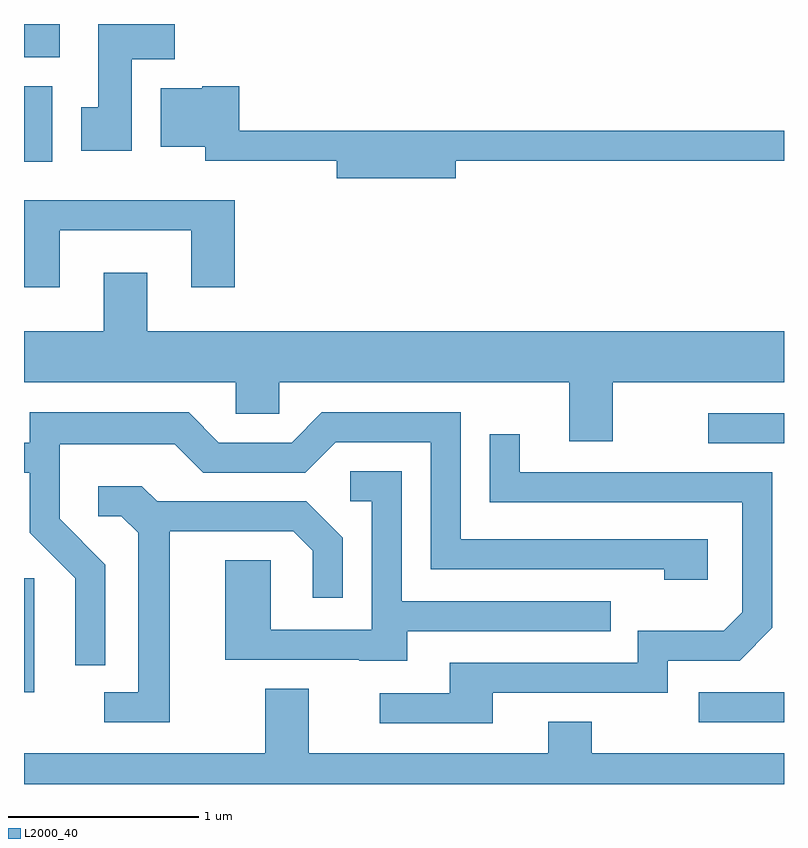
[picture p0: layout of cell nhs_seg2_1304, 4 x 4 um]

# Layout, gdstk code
import gdstk
lib = gdstk.Library(unit=1e-6, precision=1e-09)
def R(c, l, rs):  # rectangles x0, y0, x1, y1
    for r in rs: c.add(gdstk.rectangle(r[:2], r[2:], *l))
def P(c, l, *ps):  # polygons
    for p in ps: c.add(gdstk.Polygon(p, *l))
L2000_40 = (2000, 40)

nhs_seg2_1304 = lib.new_cell('nhs_seg2_1304')
R(nhs_seg2_1304, L2000_40, [(223.611,1002.286,223.664,1002.884), (227.213,1003.596,227.611,1003.754), (223.611,1005.076,223.759,1005.474), (223.611,1005.626,223.799,1005.802)])
P(nhs_seg2_1304, L2000_40, [(224.179,1005.616),(224.404,1005.616),(224.404,1005.802),(224.001,1005.802),(224.001,1005.364),(223.911,1005.364),(223.911,1005.136),(224.179,1005.136)],
  [(225.884,1005.081),(227.611,1005.081),(227.611,1005.239),(224.744,1005.239),(224.744,1005.474),(224.55,1005.474),(224.55,1005.464),(224.331,1005.464),(224.331,1005.156),(224.566,1005.156),(224.566,1005.081),(225.256,1005.081),(225.256,1004.991),(225.884,1004.991)],
  [(223.799,1004.716),(224.491,1004.716),(224.491,1004.416),(224.719,1004.416),(224.719,1004.874),(223.611,1004.874),(223.611,1004.416),(223.799,1004.416)],
  [(226.709,1003.916),(227.611,1003.916),(227.611,1004.184),(224.259,1004.184),(224.259,1004.494),(224.031,1004.494),(224.031,1004.184),(223.611,1004.184),(223.611,1003.916),(224.726,1003.916),(224.726,1003.751),(224.954,1003.751),(224.954,1003.916),(226.481,1003.916),(226.481,1003.606),(226.709,1003.606)],
  [(224.039,1002.957),(223.799,1003.197),(223.799,1003.591),(224.404,1003.591),(224.554,1003.441),(225.092,1003.441),(225.252,1003.601),(225.751,1003.601),(225.751,1002.931),(226.981,1002.931),(226.981,1002.876),(227.209,1002.876),(227.209,1003.089),(225.909,1003.089),(225.909,1003.759),(225.179,1003.759),(225.019,1003.599),(224.637,1003.599),(224.477,1003.759),(223.641,1003.759),(223.641,1003.599),(223.611,1003.599),(223.611,1003.441),(223.641,1003.441),(223.641,1003.124),(223.881,1002.884),(223.881,1002.428),(224.039,1002.428)],
  [(226.079,1002.281),(226.999,1002.281),(226.999,1002.451),(227.377,1002.451),(227.549,1002.624),(227.549,1003.444),(226.219,1003.444),(226.219,1003.643),(226.061,1003.643),(226.061,1003.286),(227.391,1003.286),(227.391,1002.707),(227.294,1002.609),(226.841,1002.609),(226.841,1002.439),(225.851,1002.439),(225.851,1002.279),(225.483,1002.279),(225.483,1002.121),(226.079,1002.121)],
  [(225.629,1002.606),(226.698,1002.606),(226.698,1002.764),(225.599,1002.764),(225.599,1003.449),(225.328,1003.449),(225.328,1003.291),(225.441,1003.291),(225.441,1002.614),(224.909,1002.614),(224.909,1002.979),(224.671,1002.979),(224.671,1002.456),(225.375,1002.456),(225.375,1002.451),(225.629,1002.451)],
  [(224.379,1003.131),(225.029,1003.131),(225.131,1003.029),(225.131,1002.783),(225.289,1002.783),(225.289,1003.097),(225.097,1003.289),(224.312,1003.289),(224.232,1003.369),(224.003,1003.369),(224.003,1003.211),(224.124,1003.211),(224.211,1003.124),(224.211,1002.284),(224.033,1002.284),(224.033,1002.126),(224.379,1002.126)],
  [(227.611,1001.964),(226.599,1001.964),(226.599,1002.129),(226.371,1002.129),(226.371,1001.964),(225.109,1001.964),(225.109,1002.304),(224.881,1002.304),(224.881,1001.964),(223.611,1001.964),(223.611,1001.802),(227.611,1001.802)],
  [(227.611,1002.286),(227.609,1002.284),(227.163,1002.284),(227.163,1002.126),(227.611,1002.126)])

lib.write_gds('nhs_seg2_1304.gds')
